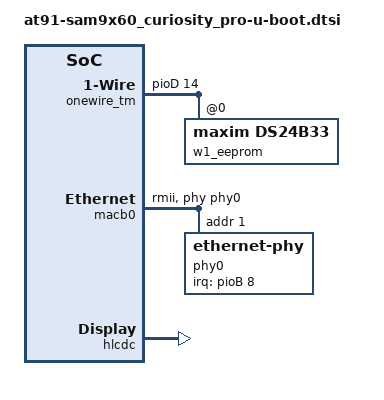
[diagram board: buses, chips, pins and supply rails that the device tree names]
// SPDX-License-Identifier: (GPL-2.0+ OR MIT)
/*
 * at91-sam9x60_curiosity_pro-u-boot.dtsi - Device Tree Include file for
 * SAM9X60 CURIOSITY PRO.
 *
 * Copyright (C) 2026 Microchip Technology Inc. and its subsidiaries
 *
 * Author: Varshini Rajendran <varshini.rajendran@microchip.com>
 */

/ {
	/*
	 * sam9x60.dtsi pulls in skeleton.dtsi, which provides a placeholder
	 * /memory node. Drop it in favour of the memory@20000000 node the
	 * board device tree describes.
	 */
	/delete-node/ memory;

	ahb {
		bootph-all;

		apb {
			bootph-all;
		};
	};

	chosen {
		bootph-all;
	};

	onewire_tm: onewire {
		gpios = <&pioD 14 GPIO_ACTIVE_HIGH>;
		pinctrl-names = "default";
		pinctrl-0 = <&pinctrl_onewire_tm_default>;
		status = "okay";

		w1_eeprom: w1_eeprom@0 {
			compatible = "maxim,ds24b33";
			status = "okay";
		};
	};
};

&clk32 {
	bootph-all;
};

&dbgu {
	bootph-all;
};

&macb0 {
	bootph-all;
	phy-mode = "rmii";
	#address-cells = <1>;
	#size-cells = <0>;
	pinctrl-names = "default";
	pinctrl-0 = <&pinctrl_macb0_rmii>;
	phy-handle = <&phy0>;
	status = "okay";

	phy0: ethernet-phy@1 {
		reg = <0x1>;
		interrupt-parent = <&pioB>;
		interrupts = <8 IRQ_TYPE_LEVEL_LOW>;
		vsc8531,clk-out-frequency = <50000000>;
	};
};

&hlcdc {
	atmel,vl-bpix = <4>;
	atmel,output-mode = <24>;
	atmel,guard-time = <1>;
	pinctrl-names = "default";
	pinctrl-0 = <&pinctrl_lcd_base &pinctrl_lcd_pwm &pinctrl_lcd_rgb666>;
	assigned-clocks = <&pmc PMC_TYPE_GCK 25>;
	assigned-clock-rates = <66666667>;
	assigned-clock-parents = <&pmc PMC_TYPE_CORE 10>; /* ID_PLL_A_DIV */
	bootph-all;
	status = "okay";

	display-timings {
		bootph-all;
		800x480 {
			clock-frequency = <33333334>;
			xres = <800>;
			yres = <480>;
			hactive = <800>;
			vactive = <480>;
			hsync-len = <64>;
			hfront-porch = <1>;
			hback-porch = <64>;
			vfront-porch = <1>;
			vback-porch = <22>;
			vsync-len = <23>;
		};
	};
};

&main_rc {
	bootph-all;
};

&main_xtal {
	bootph-all;
};

&pinctrl {
	bootph-all;

	hlcdc {
		pinctrl_lcd_base: lcd-base {
			atmel,pins = <AT91_PIOC 27 AT91_PERIPH_A AT91_PINCTRL_NONE	/* LCDVSYNC */
						  AT91_PIOC 28 AT91_PERIPH_A AT91_PINCTRL_NONE	/* LCDHSYNC */
						  AT91_PIOC 24 AT91_PERIPH_A AT91_PINCTRL_NONE	/* LCDDISP */
						  AT91_PIOC 29 AT91_PERIPH_A AT91_PINCTRL_NONE	/* LCDDEN */
						  AT91_PIOC 30 AT91_PERIPH_A AT91_PINCTRL_NONE>;	/* LCDPCK */
		};

		pinctrl_lcd_pwm: lcd-pwm {
			atmel,pins = <AT91_PIOC 26 AT91_PERIPH_A AT91_PINCTRL_NONE>;
		};

		pinctrl_lcd_rgb666: lcd-rgb666 {
			atmel,pins = <AT91_PIOC 2 AT91_PERIPH_A AT91_PINCTRL_NONE	/* LCDD2 pin */
						  AT91_PIOC 3 AT91_PERIPH_A AT91_PINCTRL_NONE	/* LCDD3 pin */
						  AT91_PIOC 4 AT91_PERIPH_A AT91_PINCTRL_NONE	/* LCDD4 pin */
						  AT91_PIOC 5 AT91_PERIPH_A AT91_PINCTRL_NONE	/* LCDD5 pin */
						  AT91_PIOC 6 AT91_PERIPH_A AT91_PINCTRL_NONE	/* LCDD6 pin */
						  AT91_PIOC 7 AT91_PERIPH_A AT91_PINCTRL_NONE	/* LCDD7 pin */
						  AT91_PIOC 10 AT91_PERIPH_A AT91_PINCTRL_NONE	/* LCDD10 pin */
						  AT91_PIOC 11 AT91_PERIPH_A AT91_PINCTRL_NONE	/* LCDD11 pin */
						  AT91_PIOC 12 AT91_PERIPH_A AT91_PINCTRL_NONE	/* LCDD12 pin */
						  AT91_PIOC 13 AT91_PERIPH_A AT91_PINCTRL_NONE	/* LCDD13 pin */
						  AT91_PIOC 14 AT91_PERIPH_A AT91_PINCTRL_NONE	/* LCDD14 pin */
						  AT91_PIOC 15 AT91_PERIPH_A AT91_PINCTRL_NONE	/* LCDD15 pin */
						  AT91_PIOC 18 AT91_PERIPH_A AT91_PINCTRL_NONE	/* LCDD18 pin */
						  AT91_PIOC 19 AT91_PERIPH_A AT91_PINCTRL_NONE	/* LCDD19 pin */
						  AT91_PIOC 20 AT91_PERIPH_A AT91_PINCTRL_NONE	/* LCDD20 pin */
						  AT91_PIOC 21 AT91_PERIPH_A AT91_PINCTRL_NONE	/* LCDD21 pin */
						  AT91_PIOC 22 AT91_PERIPH_A AT91_PINCTRL_NONE	/* LCDD22 pin */
						  AT91_PIOC 23 AT91_PERIPH_A AT91_PINCTRL_NONE>;	/* LCDD23 pin */
		};
	};

	macb0 {
		pinctrl_macb0_rmii: macb0-rmii-0 {
			atmel,pins =
				<AT91_PIOB 0 AT91_PERIPH_A AT91_PINCTRL_NONE		/* PB0 periph A */
				 AT91_PIOB 1 AT91_PERIPH_A AT91_PINCTRL_NONE		/* PB1 periph A */
				 AT91_PIOB 2 AT91_PERIPH_A AT91_PINCTRL_PULL_DOWN	/* PB2 periph A */
				 AT91_PIOB 3 AT91_PERIPH_A AT91_PINCTRL_NONE		/* PB3 periph A */
				 AT91_PIOB 4 AT91_PERIPH_A AT91_PINCTRL_NONE		/* PB4 periph A */
				 AT91_PIOB 5 AT91_PERIPH_A AT91_PINCTRL_NONE		/* PB5 periph A */
				 AT91_PIOB 6 AT91_PERIPH_A AT91_PINCTRL_NONE		/* PB6 periph A */
				 AT91_PIOB 7 AT91_PERIPH_A AT91_PINCTRL_NONE		/* PB7 periph A */
				 AT91_PIOB 9 AT91_PERIPH_A AT91_PINCTRL_NONE		/* PB9 periph A */
				 AT91_PIOB 10 AT91_PERIPH_A AT91_PINCTRL_NONE>;		/* PB10 periph A */
		};
	};

	pinctrl_onewire_tm_default: onewire-tm-default {
		atmel,pins =
			<AT91_PIOD 14 AT91_PERIPH_GPIO AT91_PINCTRL_PULL_UP>;
	};
};

&pinctrl_dbgu {
	bootph-all;
};

&pinctrl_sdhci0 {
	bootph-all;
};

&pioA {
	bootph-all;
};

&pioB {
	bootph-all;
};

&pit64b0 {
	bootph-all;
};

&pmc {
	bootph-all;
};

&qspi {
	bootph-all;
};

&sdhci0 {
	bootph-all;
};

&slow_rc_osc {
	bootph-all;
};

&slow_xtal {
	bootph-all;
};
